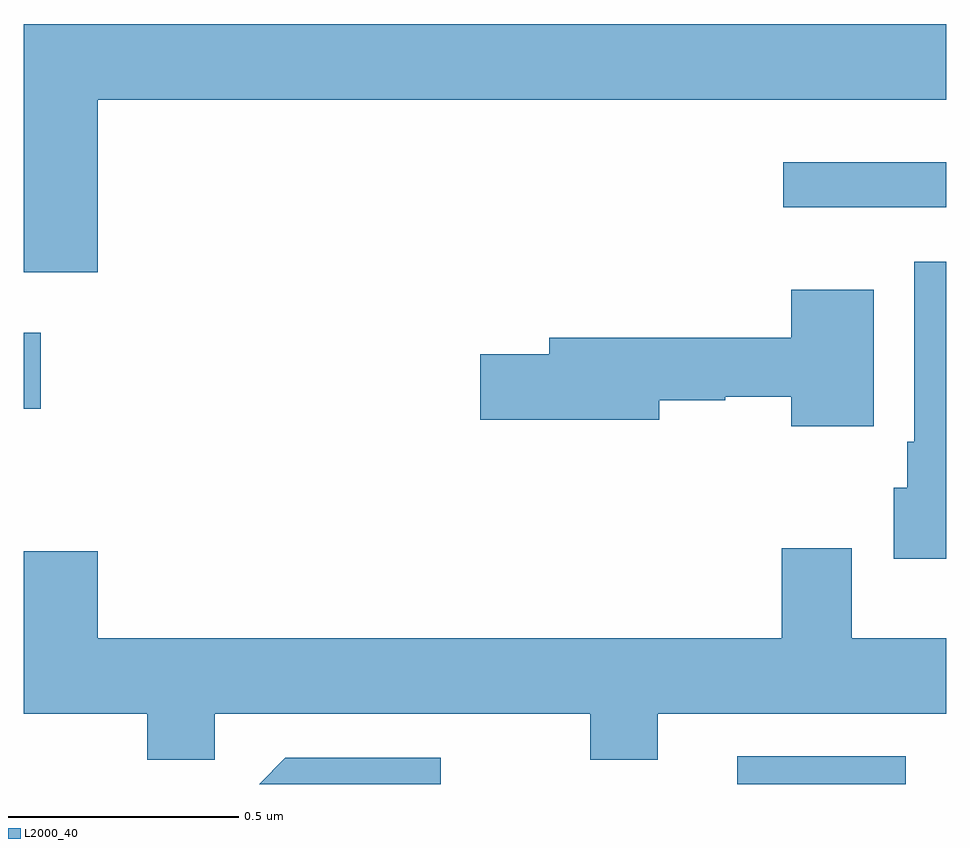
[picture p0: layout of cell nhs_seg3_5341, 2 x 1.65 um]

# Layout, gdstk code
import gdstk
lib = gdstk.Library(unit=1e-6, precision=1e-09)
def R(c, l, rs):  # rectangles x0, y0, x1, y1
    for r in rs: c.add(gdstk.rectangle(r[:2], r[2:], *l))
def P(c, l, *ps):  # polygons
    for p in ps: c.add(gdstk.Polygon(p, *l))
L2000_40 = (2000, 40)

nhs_seg3_5341 = lib.new_cell('nhs_seg3_5341')
R(nhs_seg3_5341, L2000_40, [(178.547,731.4,178.912,731.46), (177,732.214,177.037,732.379), (178.647,732.651,179,732.748)])
P(nhs_seg3_5341, L2000_40, [(177.16,732.884),(179,732.884),(179,733.048),(177,733.048),(177,732.51),(177.16,732.51)],
  [(179,732.532),(178.931,732.532),(178.931,732.142),(178.916,732.142),(178.916,732.042),(178.886,732.042),(178.886,731.888),(179,731.888)],
  [(178.843,732.472),(178.664,732.472),(178.664,732.368),(178.139,732.368),(178.139,732.332),(177.99,732.332),(177.99,732.19),(178.378,732.19),(178.378,732.232),(178.521,732.232),(178.521,732.24),(178.664,732.24),(178.664,732.176),(178.843,732.176)],
  [(177.414,731.552),(178.228,731.552),(178.228,731.453),(178.375,731.453),(178.375,731.552),(179,731.552),(179,731.716),(178.795,731.716),(178.795,731.911),(178.643,731.911),(178.643,731.716),(177.16,731.716),(177.16,731.905),(177,731.905),(177,731.552),(177.268,731.552),(177.268,731.453),(177.414,731.453)],
  [(177.904,731.457),(177.567,731.457),(177.51,731.4),(177.904,731.4)])

lib.write_gds('nhs_seg3_5341.gds')
